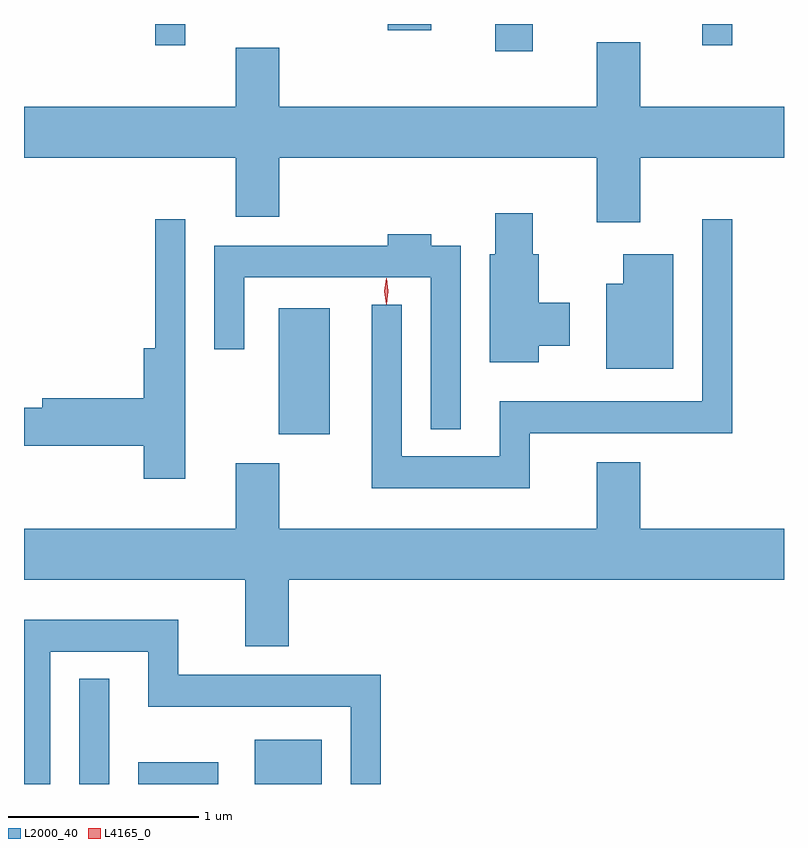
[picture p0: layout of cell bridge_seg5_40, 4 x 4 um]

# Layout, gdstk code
import gdstk
lib = gdstk.Library(unit=1e-6, precision=1e-09)
def R(c, l, rs):  # rectangles x0, y0, x1, y1
    for r in rs: c.add(gdstk.rectangle(r[:2], r[2:], *l))
def P(c, l, *ps):  # polygons
    for p in ps: c.add(gdstk.Polygon(p, *l))
L2000_40 = (2000, 40)
L4165_0 = (4165, 0)

bridge_seg5_40 = lib.new_cell('bridge_seg5_40')
R(bridge_seg5_40, L2000_40, [(1346.786,1469.04,1346.944,1469.593), (1347.096,1469.04,1347.519,1469.154), (1347.711,1469.04,1348.064,1469.274), (1347.836,1470.881,1348.104,1471.544), (1348.976,1472.896,1349.174,1473.04), (1347.186,1472.928,1347.344,1473.04), (1350.066,1472.928,1350.224,1473.04), (1348.411,1473.006,1348.639,1473.04)])
P(bridge_seg5_40, L2000_40, [(1349.739,1472.336),(1350.496,1472.336),(1350.496,1472.604),(1349.739,1472.604),(1349.739,1472.944),(1349.511,1472.944),(1349.511,1472.604),(1347.839,1472.604),(1347.839,1472.914),(1347.611,1472.914),(1347.611,1472.604),(1346.496,1472.604),(1346.496,1472.336),(1347.611,1472.336),(1347.611,1472.026),(1347.839,1472.026),(1347.839,1472.336),(1349.511,1472.336),(1349.511,1471.996),(1349.739,1471.996)],
  [(1349.204,1471.346),(1349.369,1471.346),(1349.369,1471.574),(1349.204,1471.574),(1349.204,1471.829),(1349.174,1471.829),(1349.174,1472.044),(1348.976,1472.044),(1348.976,1471.829),(1348.946,1471.829),(1348.946,1471.261),(1349.204,1471.261)],
  [(1349.159,1470.886),(1350.224,1470.886),(1350.224,1472.013),(1350.066,1472.013),(1350.066,1471.054),(1349.001,1471.054),(1349.001,1470.764),(1348.484,1470.764),(1348.484,1471.563),(1348.326,1471.563),(1348.326,1470.596),(1349.159,1470.596)],
  [(1347.344,1472.013),(1347.186,1472.013),(1347.186,1471.334),(1347.126,1471.334),(1347.126,1471.069),(1346.591,1471.069),(1346.591,1471.019),(1346.496,1471.019),(1346.496,1470.821),(1347.126,1470.821),(1347.126,1470.646),(1347.344,1470.646)],
  [(1348.794,1471.874),(1348.639,1471.874),(1348.639,1471.934),(1348.411,1471.934),(1348.411,1471.874),(1347.496,1471.874),(1347.496,1471.328),(1347.654,1471.328),(1347.654,1471.706),(1348.636,1471.706),(1348.636,1470.908),(1348.794,1470.908)],
  [(1349.914,1471.829),(1349.651,1471.829),(1349.651,1471.674),(1349.561,1471.674),(1349.561,1471.226),(1349.914,1471.226)],
  [(1347.889,1470.116),(1350.496,1470.116),(1350.496,1470.384),(1349.739,1470.384),(1349.739,1470.734),(1349.511,1470.734),(1349.511,1470.384),(1347.839,1470.384),(1347.839,1470.729),(1347.611,1470.729),(1347.611,1470.384),(1346.496,1470.384),(1346.496,1470.116),(1347.661,1470.116),(1347.661,1469.766),(1347.889,1469.766)],
  [(1346.634,1469.736),(1347.151,1469.736),(1347.151,1469.446),(1348.216,1469.446),(1348.216,1469.04),(1348.374,1469.04),(1348.374,1469.614),(1347.309,1469.614),(1347.309,1469.904),(1346.496,1469.904),(1346.496,1469.04),(1346.634,1469.04)])
P(bridge_seg5_40, L4165_0, [(1348.403,1471.563),(1348.402,1471.564),(1348.393,1471.633),(1348.402,1471.702),(1348.403,1471.703),(1348.404,1471.702),(1348.413,1471.633),(1348.404,1471.564)])

lib.write_gds('bridge_seg5_40.gds')
